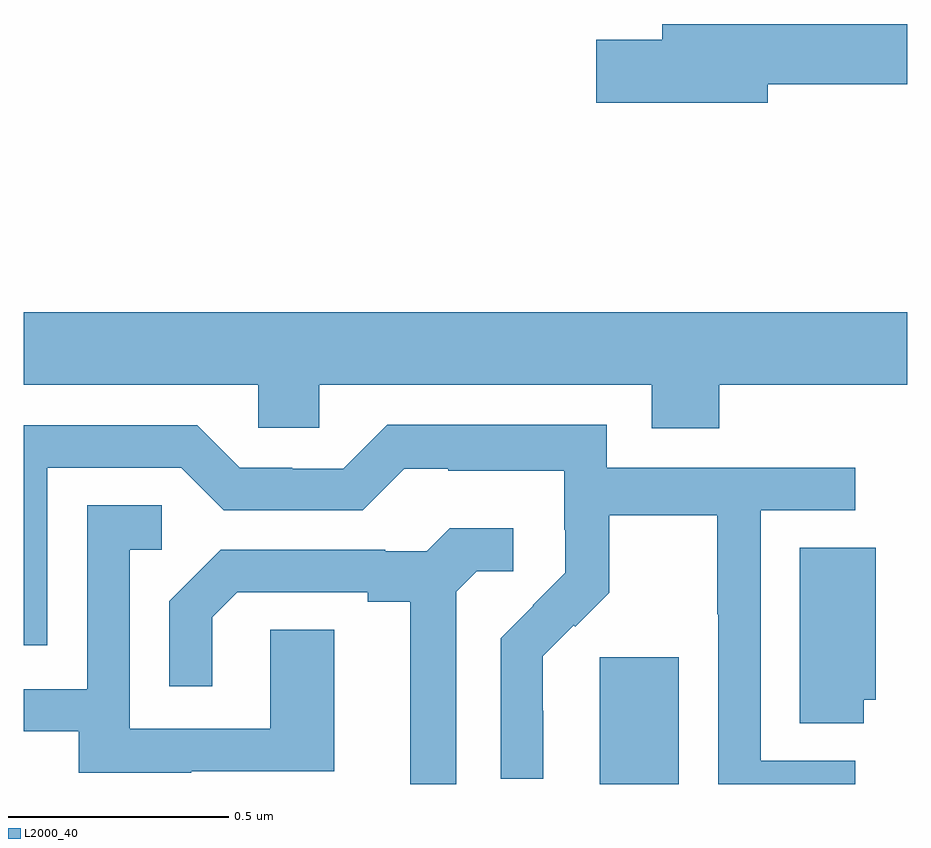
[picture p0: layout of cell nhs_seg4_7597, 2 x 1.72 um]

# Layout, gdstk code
import gdstk
lib = gdstk.Library(unit=1e-6, precision=1e-09)
def R(c, l, rs):  # rectangles x0, y0, x1, y1
    for r in rs: c.add(gdstk.rectangle(r[:2], r[2:], *l))
def P(c, l, *ps):  # polygons
    for p in ps: c.add(gdstk.Polygon(p, *l))
L2000_40 = (2000, 40)

nhs_seg4_7597 = lib.new_cell('nhs_seg4_7597')
R(nhs_seg4_7597, L2000_40, [(205.304,811.9,205.483,812.187)])
P(nhs_seg4_7597, L2000_40, [(205.684,813.484),(206,813.484),(206,813.62),(205.445,813.62),(205.445,813.584),(205.296,813.584),(205.296,813.442),(205.684,813.442)],
  [(205.574,812.804),(206,812.804),(206,812.968),(204,812.968),(204,812.804),(204.531,812.804),(204.531,812.706),(204.669,812.706),(204.669,812.804),(205.421,812.804),(205.421,812.705),(205.574,812.705)],
  [(205.882,811.953),(205.668,811.953),(205.668,812.52),(205.882,812.52),(205.882,812.616),(205.32,812.616),(205.32,812.713),(204.823,812.713),(204.723,812.613),(204.608,812.613),(204.608,812.616),(204.489,812.616),(204.393,812.712),(204,812.712),(204,812.214),(204.054,812.214),(204.054,812.616),(204.357,812.616),(204.453,812.52),(204.768,812.52),(204.861,812.613),(204.961,812.613),(204.961,812.609),(205.224,812.609),(205.224,812.475),(205.226,812.475),(205.226,812.378),(205.152,812.304),(205.153,812.303),(205.08,812.23),(205.08,811.912),(205.176,811.912),(205.176,812.066),(205.175,812.066),(205.175,812.189),(205.245,812.259),(205.248,812.256),(205.325,812.333),(205.325,812.508),(205.57,812.508),(205.57,812.284),(205.572,812.284),(205.572,811.9),(205.882,811.9)],
  [(204.379,811.929),(204.703,811.929),(204.703,812.249),(204.558,812.249),(204.558,812.025),(204.24,812.025),(204.24,812.43),(204.313,812.43),(204.313,812.531),(204.144,812.531),(204.144,812.115),(204,812.115),(204,812.019),(204.125,812.019),(204.125,811.925),(204.379,811.925)],
  [(204.979,812.335),(205.026,812.382),(205.108,812.382),(205.108,812.479),(204.964,812.479),(204.912,812.427),(204.818,812.427),(204.818,812.43),(204.446,812.43),(204.33,812.314),(204.33,812.121),(204.427,812.121),(204.427,812.277),(204.484,812.334),(204.779,812.334),(204.779,812.312),(204.875,812.312),(204.875,811.9),(204.979,811.9)],
  [(205.901,812.091),(205.928,812.091),(205.928,812.435),(205.757,812.435),(205.757,812.038),(205.901,812.038)])

lib.write_gds('nhs_seg4_7597.gds')
